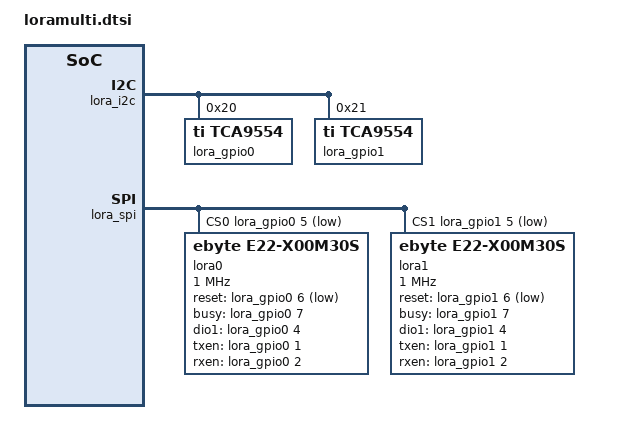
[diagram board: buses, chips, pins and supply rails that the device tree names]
// SPDX-License-Identifier: GPL-2.0-only
/*
 * Include in a board DTS defining lora_i2c, lora_spi and LORA_IRQ_SPEC.
 * Example LORA_IRQ_SPEC for a generic two-cell interrupt controller:
 *   #define LORA_IRQ_SPEC &gpio 7 IRQ_TYPE_LEVEL_HIGH
 * Allwinner uses three cells, e.g. &pio BANK PIN IRQ_TYPE_LEVEL_HIGH.
 * Choose BANK/PIN from the actual board; no SoC numbering is baked in here.
 * Expand this pattern to TCA9554 addresses 0x20..0x27 for eight modules.
 */
#include <dt-bindings/gpio/gpio.h>
#include <dt-bindings/interrupt-controller/irq.h>

&lora_i2c {
	status = "okay";
	lora_gpio0: gpio@20 {
		compatible = "ti,tca9554";
		reg = <0x20>;
		gpio-controller;
		#gpio-cells = <2>;
	};
	lora_gpio1: gpio@21 {
		compatible = "ti,tca9554";
		reg = <0x21>;
		gpio-controller;
		#gpio-cells = <2>;
	};
};

&lora_spi {
	status = "okay";
	#address-cells = <1>;
	#size-cells = <0>;
	cs-gpios = <&lora_gpio0 5 GPIO_ACTIVE_LOW>,
		   <&lora_gpio1 5 GPIO_ACTIVE_LOW>;

	lora0: radio@0 {
		compatible = "ebyte,e22-x00m30s", "semtech,sx1262";
		reg = <0>;
		spi-max-frequency = <1000000>;
		interrupts-extended = <LORA_IRQ_SPEC>;
		reset-gpios = <&lora_gpio0 6 GPIO_ACTIVE_LOW>;
		busy-gpios = <&lora_gpio0 7 GPIO_ACTIVE_HIGH>;
		dio1-gpios = <&lora_gpio0 4 GPIO_ACTIVE_HIGH>;
		txen-gpios = <&lora_gpio0 1 GPIO_ACTIVE_HIGH>;
		rxen-gpios = <&lora_gpio0 2 GPIO_ACTIVE_HIGH>;
	};

	lora1: radio@1 {
		compatible = "ebyte,e22-x00m30s", "semtech,sx1262";
		reg = <1>;
		spi-max-frequency = <1000000>;
		interrupts-extended = <LORA_IRQ_SPEC>;
		reset-gpios = <&lora_gpio1 6 GPIO_ACTIVE_LOW>;
		busy-gpios = <&lora_gpio1 7 GPIO_ACTIVE_HIGH>;
		dio1-gpios = <&lora_gpio1 4 GPIO_ACTIVE_HIGH>;
		txen-gpios = <&lora_gpio1 1 GPIO_ACTIVE_HIGH>;
		rxen-gpios = <&lora_gpio1 2 GPIO_ACTIVE_HIGH>;
	};
};
